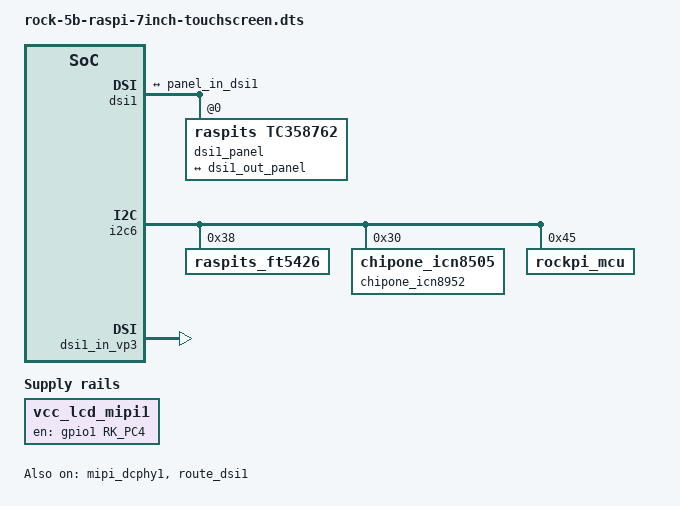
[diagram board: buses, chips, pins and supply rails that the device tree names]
/dts-v1/;
/plugin/;

#include <dt-bindings/interrupt-controller/irq.h>
#include <dt-bindings/gpio/gpio.h>
#include <dt-bindings/pinctrl/rockchip.h>

/ {
	metadata {
		title = "Enable Raspberry Pi 7-inch Touchscreen";
		compatible = "radxa,rock-5b";
		category = "display";
		exclusive = "dsi1";
		description = "Enable Raspberry Pi 7-inch Touchscreen";
	};
};

&{/} {
	vcc_lcd_mipi1: vcc-lcd-mipi1 {
		status = "okay";
		compatible = "regulator-fixed";
		regulator-name = "vcc_lcd_mipi1";
		gpio = <&gpio1 RK_PC4 GPIO_ACTIVE_HIGH>;
		enable-active-high;
		regulator-boot-on;
		regulator-state-mem {
			regulator-off-in-suspend;
		};
	};
};

&dsi1 {
	status = "okay";
	#address-cells = <1>;
	#size-cells = <0>;
	rockchip,lane-rate = <605>;

	dsi1_panel: dsi-panel@0 {
		compatible = "raspits,tc358762";
		reg = <0x0>;
		status = "okay";

		ports {
			#address-cells = <1>;
			#size-cells = <0>;

			port@0 {
				reg = <0>;
				panel_in_dsi1: endpoint {
					remote-endpoint = <&dsi1_out_panel>;
				};
			};
		};
	};

	ports {
		#address-cells = <1>;
		#size-cells = <0>;

		port@1 {
			reg = <1>;
			dsi1_out_panel: endpoint {
				remote-endpoint = <&panel_in_dsi1>;
			};
		};
	};
};

&i2c6 {
	status = "okay";
	pinctrl-0 = <&i2c6m0_xfer>;
	#address-cells = <1>;
	#size-cells = <0>;

	raspits_ft5426: raspits_ft5426@38 {
		compatible = "raspits_ft5426";
		reg = <0x38>;
	};

	chipone_icn8952: chipone_icn8952@30 {
		compatible = "chipone_icn8505";
		reg = <0x30>;
	};

	rockpi_mcu: rockpi-mcu@45 {
		compatible = "rockpi_mcu";
		reg = <0x45>;
	};
};

&mipi_dcphy1 {
	status = "okay";
};

&route_dsi1 {
	status = "okay";
	connect = <&vp3_out_dsi1>;
};

&dsi1_in_vp2 {
	status = "disabled";
};

&dsi1_in_vp3 {
	status = "okay";
};
